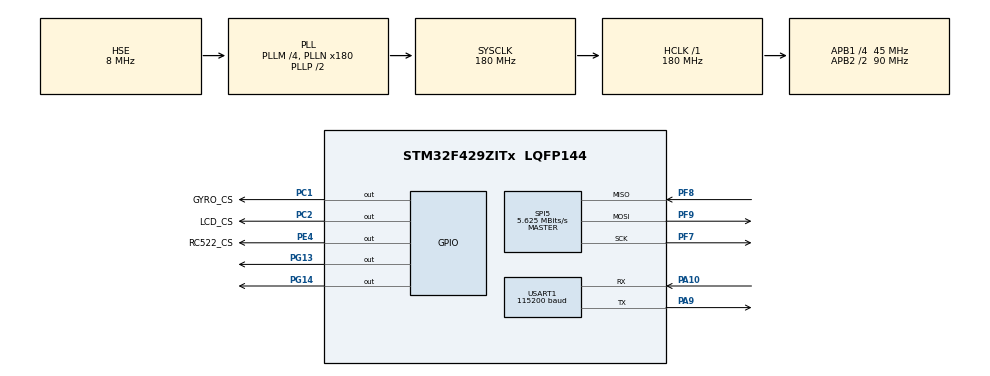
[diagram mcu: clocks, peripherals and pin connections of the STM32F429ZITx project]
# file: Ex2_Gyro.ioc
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Mcu.Family=STM32F4
Mcu.Name=STM32F429ZITx
Mcu.Package=LQFP144
NVIC.PriorityGroup=NVIC_PRIORITYGROUP_4
PA10.Mode=Asynchronous
PA10.Signal=USART1_RX
PA13.Mode=Serial_Wire
PA13.Signal=SYS_JTMS-SWDIO
PA14.Mode=Serial_Wire
PA14.Signal=SYS_JTCK-SWCLK
PA9.Mode=Asynchronous
PA9.Signal=USART1_TX
PC1.GPIO_Label=GYRO_CS
PC1.PinState=GPIO_PIN_SET
PC1.Signal=GPIO_Output
PC2.GPIO_Label=LCD_CS
PC2.PinState=GPIO_PIN_SET
PC2.Signal=GPIO_Output
PE4.GPIO_Label=RC522_CS
PE4.PinState=GPIO_PIN_SET
PE4.Signal=GPIO_Output
PF7.Mode=Full_Duplex_Master
PF7.Signal=SPI5_SCK
PF8.Mode=Full_Duplex_Master
PF8.Signal=SPI5_MISO
PF9.Mode=Full_Duplex_Master
PF9.Signal=SPI5_MOSI
PG13.Signal=GPIO_Output
PG14.Signal=GPIO_Output
PH0/OSC_IN.Mode=HSE-External-Oscillator
PH0/OSC_IN.Signal=RCC_OSC_IN
PH1/OSC_OUT.Mode=HSE-External-Oscillator
PH1/OSC_OUT.Signal=RCC_OSC_OUT
ProjectManager.HeapSize=0x200
ProjectManager.StackSize=0x400
ProjectManager.TargetToolchain=STM32CubeIDE
RCC.48MHZClocksFreq_Value=90000000
RCC.AHBFreq_Value=180000000
RCC.APB1CLKDivider=RCC_HCLK_DIV4
RCC.APB1Freq_Value=45000000
RCC.APB1TimFreq_Value=90000000
RCC.APB2CLKDivider=RCC_HCLK_DIV2
RCC.APB2Freq_Value=90000000
RCC.APB2TimFreq_Value=180000000
RCC.CortexFreq_Value=180000000
RCC.HCLKFreq_Value=180000000
RCC.HSE_VALUE=8000000
RCC.HSI_VALUE=16000000
RCC.LSE_VALUE=32768
RCC.PLLM=4
RCC.PLLN=180
RCC.PLLSourceVirtual=RCC_PLLSOURCE_HSE
RCC.SYSCLKFreq_VALUE=180000000
RCC.SYSCLKSource=RCC_SYSCLKSOURCE_PLLCLK
RCC.VCOOutputFreq_Value=360000000
SPI5.BaudRatePrescaler=SPI_BAUDRATEPRESCALER_16
SPI5.CalculateBaudRate=5.625 MBits/s
SPI5.Direction=SPI_DIRECTION_2LINES
SPI5.Mode=SPI_MODE_MASTER
SPI5.VirtualType=VM_MASTER
USART1.BaudRate=115200
USART1.VirtualMode=VM_ASYNC
board=custom

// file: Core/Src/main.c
/* Exercise 2: provided L3GD20 driver, onboard SPI5 gyro, USART1 and LEDs. */
#include "main.h"
/* USER CODE BEGIN Includes */
#include "L3GD20.h"
#include <stdio.h>
#include <string.h>
/* USER CODE END Includes */

SPI_HandleTypeDef hspi5;
UART_HandleTypeDef huart1;
/* USER CODE BEGIN PV */
volatile float gyro_x_dps, gyro_y_dps, gyro_z_dps;
volatile uint8_t gyro_id, gyro_calibrated;
volatile uint32_t gyro_samples, spi_errors, uart_errors;
/* USER CODE END PV */

void SystemClock_Config(void);
static void MX_GPIO_Init(void);
static void MX_SPI5_Init(void);
static void MX_USART1_UART_Init(void);

/* USER CODE BEGIN 0 */
static void Serial_Print(const char *text)
{
  if (HAL_UART_Transmit(&huart1, (const uint8_t *)text,
                       (uint16_t)strlen(text), 100) != HAL_OK) uart_errors++;
}

static HAL_StatusTypeDef Gyro_ReadRegister(uint8_t address, uint8_t *value)
{
  uint8_t tx[2] = {(uint8_t)(address | 0x80), 0};
  uint8_t rx[2] = {0};
  HAL_GPIO_WritePin(GPIOC, GPIO_PIN_1, GPIO_PIN_RESET);
  HAL_StatusTypeDef status = HAL_SPI_TransmitReceive(&hspi5, tx, rx, 2, 50);
  HAL_GPIO_WritePin(GPIOC, GPIO_PIN_1, GPIO_PIN_SET);
  if (status == HAL_OK) *value = rx[1];
  else spi_errors++;
  return status;
}

static void Format_Rate(char *text, size_t capacity, float rate)
{
  /* Fixed-point output avoids requiring newlib's optional float printf. */
  long milli = (long)(rate * 1000.0f);
  const char *sign = milli < 0 ? "-" : "";
  if (milli < 0) milli = -milli;
  snprintf(text, capacity, "%s%ld.%03ld", sign, milli / 1000, milli % 1000);
}
/* USER CODE END 0 */

int main(void)
{
  HAL_Init();
  SystemClock_Config();
  MX_GPIO_Init();
  MX_SPI5_Init();
  MX_USART1_UART_Init();

  /* USER CODE BEGIN 2 */
  char line[160], x_text[24], y_text[24], z_text[24];
  uint8_t identity = 0;
  Serial_Print("\r\nEx2 onboard gyroscope / SPI5 / USART1 115200 8N1\r\n");
  while (Gyro_ReadRegister(0x0F, &identity) != HAL_OK ||
         (identity != 0xD3 && identity != 0xD4 && identity != 0xD7)) {
    snprintf(line, sizeof(line), "Gyroscope not detected, WHO_AM_I=0x%02X\r\n", (unsigned)identity);
    Serial_Print(line);
    HAL_Delay(1000);
  }
  gyro_id = identity;
  snprintf(line, sizeof(line), "WHO_AM_I=0x%02X. Keep board STILL during calibration.\r\n", (unsigned)gyro_id);
  Serial_Print(line);
  L3GD20_Init();
  uint32_t last_sample = HAL_GetTick();
  uint32_t last_print = last_sample;
  /* USER CODE END 2 */

  while (1) {
    /* USER CODE BEGIN 3 */
    uint32_t now = HAL_GetTick();
    if ((uint32_t)(now - last_sample) < 3) {
      HAL_Delay(1);
      continue;
    }
    last_sample = now;
    uint8_t sensor_status = 0;
    if (Gyro_ReadRegister(0x27, &sensor_status) != HAL_OK) {
      HAL_GPIO_WritePin(GPIOG, GPIO_PIN_13 | GPIO_PIN_14, GPIO_PIN_RESET);
      Serial_Print("Gyroscope SPI read failed.\r\n");
      HAL_Delay(1000);
      continue;
    }
    if ((sensor_status & 0x08) == 0) continue; /* Wait for fresh XYZ data. */

    /* The supplied state machine needs one call to read and one to process. */
    L3GD20_loop();
    L3GD20_loop();
    gyro_samples++;

    if (!L3GD20_IsCalibrated()) {
      if ((uint32_t)(now - last_print) >= 1000) {
        Serial_Print("Calibrating... keep board still.\r\n");
        last_print = now;
      }
      continue;
    }
    if (!gyro_calibrated) {
      gyro_calibrated = 1;
      Serial_Print("Calibration complete. Rotate board to change X/Y/Z (deg/s).\r\n");
    }

    gyro_x_dps = get_Rate_X();
    gyro_y_dps = get_Rate_Y();
    gyro_z_dps = get_Rate_Z();
    HAL_GPIO_WritePin(GPIOG, GPIO_PIN_13, gyro_x_dps > 0 ? GPIO_PIN_SET : GPIO_PIN_RESET);
    HAL_GPIO_WritePin(GPIOG, GPIO_PIN_14, gyro_y_dps > 0 ? GPIO_PIN_SET : GPIO_PIN_RESET);

    if ((uint32_t)(now - last_print) >= 100) {
      Format_Rate(x_text, sizeof(x_text), gyro_x_dps);
      Format_Rate(y_text, sizeof(y_text), gyro_y_dps);
      Format_Rate(z_text, sizeof(z_text), gyro_z_dps);
      snprintf(line, sizeof(line), "X = %s, Y = %s, Z = %s deg/s\r\n", x_text, y_text, z_text);
      Serial_Print(line);
      last_print = now;
    }
  }
  /* USER CODE END 3 */
}

void SystemClock_Config(void)
{
  RCC_OscInitTypeDef osc = {0};
  RCC_ClkInitTypeDef clk = {0};
  __HAL_RCC_PWR_CLK_ENABLE();
  __HAL_PWR_VOLTAGESCALING_CONFIG(PWR_REGULATOR_VOLTAGE_SCALE1);
  osc.OscillatorType = RCC_OSCILLATORTYPE_HSE;
  osc.HSEState = RCC_HSE_ON;
  osc.PLL.PLLState = RCC_PLL_ON;
  osc.PLL.PLLSource = RCC_PLLSOURCE_HSE;
  osc.PLL.PLLM = 4;
  osc.PLL.PLLN = 180;
  osc.PLL.PLLP = RCC_PLLP_DIV2;
  osc.PLL.PLLQ = 4;
  if (HAL_RCC_OscConfig(&osc) != HAL_OK) Error_Handler();
  if (HAL_PWREx_EnableOverDrive() != HAL_OK) Error_Handler();
  clk.ClockType = RCC_CLOCKTYPE_HCLK | RCC_CLOCKTYPE_SYSCLK |
                  RCC_CLOCKTYPE_PCLK1 | RCC_CLOCKTYPE_PCLK2;
  clk.SYSCLKSource = RCC_SYSCLKSOURCE_PLLCLK;
  clk.AHBCLKDivider = RCC_SYSCLK_DIV1;
  clk.APB1CLKDivider = RCC_HCLK_DIV4;
  clk.APB2CLKDivider = RCC_HCLK_DIV2;
  if (HAL_RCC_ClockConfig(&clk, FLASH_LATENCY_5) != HAL_OK) Error_Handler();
}

static void MX_SPI5_Init(void)
{
  hspi5.Instance = SPI5;
  hspi5.Init.Mode = SPI_MODE_MASTER;
  hspi5.Init.Direction = SPI_DIRECTION_2LINES;
  hspi5.Init.DataSize = SPI_DATASIZE_8BIT;
  hspi5.Init.CLKPolarity = SPI_POLARITY_LOW;
  hspi5.Init.CLKPhase = SPI_PHASE_1EDGE;
  hspi5.Init.NSS = SPI_NSS_SOFT;
  hspi5.Init.BaudRatePrescaler = SPI_BAUDRATEPRESCALER_16;
  hspi5.Init.FirstBit = SPI_FIRSTBIT_MSB;
  hspi5.Init.TIMode = SPI_TIMODE_DISABLE;
  hspi5.Init.CRCCalculation = SPI_CRCCALCULATION_DISABLE;
  hspi5.Init.CRCPolynomial = 10;
  if (HAL_SPI_Init(&hspi5) != HAL_OK) Error_Handler();
}

static void MX_USART1_UART_Init(void)
{
  huart1.Instance = USART1;
  huart1.Init.BaudRate = 115200;
  huart1.Init.WordLength = UART_WORDLENGTH_8B;
  huart1.Init.StopBits = UART_STOPBITS_1;
  huart1.Init.Parity = UART_PARITY_NONE;
  huart1.Init.Mode = UART_MODE_TX_RX;
  huart1.Init.HwFlowCtl = UART_HWCONTROL_NONE;
  huart1.Init.OverSampling = UART_OVERSAMPLING_16;
  if (HAL_UART_Init(&huart1) != HAL_OK) Error_Handler();
}

static void MX_GPIO_Init(void)
{
  GPIO_InitTypeDef gpio = {0};
  __HAL_RCC_GPIOC_CLK_ENABLE();
  __HAL_RCC_GPIOE_CLK_ENABLE();
  __HAL_RCC_GPIOG_CLK_ENABLE();
  /* Deselect gyro, LCD sharing SPI5, and optional RC522 still wired to SPI4. */
  HAL_GPIO_WritePin(GPIOC, GPIO_PIN_1 | GPIO_PIN_2, GPIO_PIN_SET);
  HAL_GPIO_WritePin(GPIOE, GPIO_PIN_4, GPIO_PIN_SET);
  HAL_GPIO_WritePin(GPIOG, GPIO_PIN_13 | GPIO_PIN_14, GPIO_PIN_RESET);
  gpio.Mode = GPIO_MODE_OUTPUT_PP;
  gpio.Pull = GPIO_NOPULL;
  gpio.Speed = GPIO_SPEED_FREQ_LOW;
  gpio.Pin = GPIO_PIN_1 | GPIO_PIN_2;
  HAL_GPIO_Init(GPIOC, &gpio);
  gpio.Pin = GPIO_PIN_4;
  HAL_GPIO_Init(GPIOE, &gpio);
  gpio.Pin = GPIO_PIN_13 | GPIO_PIN_14;
  HAL_GPIO_Init(GPIOG, &gpio);
}

void Error_Handler(void)
{
  __disable_irq();
  while (1) {}
}
